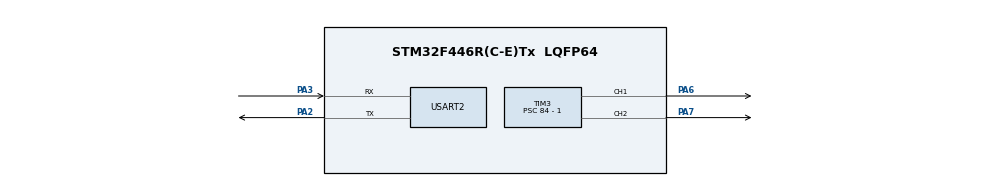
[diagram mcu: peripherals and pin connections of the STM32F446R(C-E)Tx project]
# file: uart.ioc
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Mcu.Family=STM32F4
Mcu.Name=STM32F446R(C-E)Tx
Mcu.Package=LQFP64
NVIC.PriorityGroup=NVIC_PRIORITYGROUP_4
NVIC.USART2_IRQn=true\:0\:0\:false\:false\:true\:true\:true\:true
PA2.Mode=Asynchronous
PA2.Signal=USART2_TX
PA3.Mode=Asynchronous
PA3.Signal=USART2_RX
PA6.Signal=S_TIM3_CH1
PA7.Signal=S_TIM3_CH2
ProjectManager.HeapSize=0x200
ProjectManager.StackSize=0x400
ProjectManager.TargetToolchain=CMake
RCC.CortexFreq_Value=16000000
RCC.USBFreq_Value=96000000
RCC.VCOOutputFreq_Value=192000000
SH.S_TIM3_CH1.0=TIM3_CH1,PWM Generation1 CH1
SH.S_TIM3_CH2.0=TIM3_CH2,PWM Generation2 CH2
TIM3.Channel-PWM\ Generation1\ CH1=TIM_CHANNEL_1
TIM3.Channel-PWM\ Generation2\ CH2=TIM_CHANNEL_2
TIM3.Period=100 - 1
TIM3.Prescaler=84 - 1
USART2.VirtualMode=VM_ASYNC
VP_TIM3_VS_ClockSourceINT.Mode=Internal
board=custom

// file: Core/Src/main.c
/* USER CODE BEGIN Header */
/**
  ******************************************************************************
  * @file           : main.c
  * @brief          : Main program body
  ******************************************************************************
  * @attention
  *
  * Copyright (c) 2025 STMicroelectronics.
  * All rights reserved.
  *
  * This software is licensed under terms that can be found in the LICENSE file
  * in the root directory of this software component.
  * If no LICENSE file comes with this software, it is provided AS-IS.
  *
  ******************************************************************************
  */
/* USER CODE END Header */
#include "main.h"

TIM_HandleTypeDef htim3;

UART_HandleTypeDef huart2;

/* USER CODE BEGIN PV */
uint8_t rxData;        // UART 수신용
int duty1 = 0;         // 1번 LED 밝기 (0~100)
int duty2 = 0;         // 2번 LED 밝기 (0~100)
char msg[64];          // PC 전송용 메시지 버퍼
/* USER CODE END PV */

void SystemClock_Config(void);
static void MX_GPIO_Init(void);
static void MX_TIM3_Init(void);
static void MX_USART2_UART_Init(void);

int main(void)
{

  /* MCU Configuration--------------------------------------------------------*/

  /* Reset of all peripherals, Initializes the Flash interface and the Systick. */
  HAL_Init();

  /* Configure the system clock */
  SystemClock_Config();

  /* Initialize all configured peripherals */
  MX_GPIO_Init();
  MX_TIM3_Init();
  MX_USART2_UART_Init();
  /* USER CODE BEGIN 2 */
  HAL_TIM_PWM_Start(&htim3, TIM_CHANNEL_1); // 1번 LED 동작 시작
  HAL_TIM_PWM_Start(&htim3, TIM_CHANNEL_2); // 2번 LED 동작 시작

  // 첫 번째 UART 데이터 수신 대기
  HAL_UART_Receive_IT(&huart2, &rxData, 1);
  /* USER CODE END 2 */

  /* Infinite loop */
  while (1)
  {

  }
}

void SystemClock_Config(void)
{
  RCC_OscInitTypeDef RCC_OscInitStruct = {0};
  RCC_ClkInitTypeDef RCC_ClkInitStruct = {0};

  /** Configure the main internal regulator output voltage
  */
  __HAL_RCC_PWR_CLK_ENABLE();
  __HAL_PWR_VOLTAGESCALING_CONFIG(PWR_REGULATOR_VOLTAGE_SCALE3);

  /** Initializes the RCC Oscillators according to the specified parameters
  * in the RCC_OscInitTypeDef structure.
  */
  RCC_OscInitStruct.OscillatorType = RCC_OSCILLATORTYPE_HSI;
  RCC_OscInitStruct.HSIState = RCC_HSI_ON;
  RCC_OscInitStruct.HSICalibrationValue = RCC_HSICALIBRATION_DEFAULT;
  RCC_OscInitStruct.PLL.PLLState = RCC_PLL_NONE;
  if (HAL_RCC_OscConfig(&RCC_OscInitStruct) != HAL_OK)
  {
    Error_Handler();
  }

  /** Initializes the CPU, AHB and APB buses clocks
  */
  RCC_ClkInitStruct.ClockType = RCC_CLOCKTYPE_HCLK|RCC_CLOCKTYPE_SYSCLK
                              |RCC_CLOCKTYPE_PCLK1|RCC_CLOCKTYPE_PCLK2;
  RCC_ClkInitStruct.SYSCLKSource = RCC_SYSCLKSOURCE_HSI;
  RCC_ClkInitStruct.AHBCLKDivider = RCC_SYSCLK_DIV1;
  RCC_ClkInitStruct.APB1CLKDivider = RCC_HCLK_DIV1;
  RCC_ClkInitStruct.APB2CLKDivider = RCC_HCLK_DIV1;

  if (HAL_RCC_ClockConfig(&RCC_ClkInitStruct, FLASH_LATENCY_0) != HAL_OK)
  {
    Error_Handler();
  }
}

static void MX_TIM3_Init(void)
{

  TIM_ClockConfigTypeDef sClockSourceConfig = {0};
  TIM_MasterConfigTypeDef sMasterConfig = {0};
  TIM_OC_InitTypeDef sConfigOC = {0};

  htim3.Instance = TIM3;
  htim3.Init.Prescaler = 84 - 1;
  htim3.Init.CounterMode = TIM_COUNTERMODE_UP;
  htim3.Init.Period = 100 - 1;
  htim3.Init.ClockDivision = TIM_CLOCKDIVISION_DIV1;
  htim3.Init.AutoReloadPreload = TIM_AUTORELOAD_PRELOAD_DISABLE;
  if (HAL_TIM_Base_Init(&htim3) != HAL_OK)
  {
    Error_Handler();
  }
  sClockSourceConfig.ClockSource = TIM_CLOCKSOURCE_INTERNAL;
  if (HAL_TIM_ConfigClockSource(&htim3, &sClockSourceConfig) != HAL_OK)
  {
    Error_Handler();
  }
  if (HAL_TIM_PWM_Init(&htim3) != HAL_OK)
  {
    Error_Handler();
  }
  sMasterConfig.MasterOutputTrigger = TIM_TRGO_RESET;
  sMasterConfig.MasterSlaveMode = TIM_MASTERSLAVEMODE_DISABLE;
  if (HAL_TIMEx_MasterConfigSynchronization(&htim3, &sMasterConfig) != HAL_OK)
  {
    Error_Handler();
  }
  sConfigOC.OCMode = TIM_OCMODE_PWM1;
  sConfigOC.Pulse = 0;
  sConfigOC.OCPolarity = TIM_OCPOLARITY_HIGH;
  sConfigOC.OCFastMode = TIM_OCFAST_DISABLE;
  if (HAL_TIM_PWM_ConfigChannel(&htim3, &sConfigOC, TIM_CHANNEL_1) != HAL_OK)
  {
    Error_Handler();
  }
  if (HAL_TIM_PWM_ConfigChannel(&htim3, &sConfigOC, TIM_CHANNEL_2) != HAL_OK)
  {
    Error_Handler();
  }
  HAL_TIM_MspPostInit(&htim3);

}

static void MX_USART2_UART_Init(void)
{

  huart2.Instance = USART2;
  huart2.Init.BaudRate = 115200;
  huart2.Init.WordLength = UART_WORDLENGTH_8B;
  huart2.Init.StopBits = UART_STOPBITS_1;
  huart2.Init.Parity = UART_PARITY_NONE;
  huart2.Init.Mode = UART_MODE_TX_RX;
  huart2.Init.HwFlowCtl = UART_HWCONTROL_NONE;
  huart2.Init.OverSampling = UART_OVERSAMPLING_16;
  if (HAL_UART_Init(&huart2) != HAL_OK)
  {
    Error_Handler();
  }

}

static void MX_GPIO_Init(void)
{

  /* GPIO Ports Clock Enable */
  __HAL_RCC_GPIOA_CLK_ENABLE();

}

/* USER CODE BEGIN 4 */
void HAL_UART_RxCpltCallback(UART_HandleTypeDef *huart) {
    if (huart->Instance == USART2) {
        // 1. 키 입력 처리
        if (rxData == 'w' || rxData == 'W') duty1 += 10;
        else if (rxData == 's' || rxData == 'S') duty1 -= 10;
        else if (rxData == 'd' || rxData == 'D') duty2 += 10;
        else if (rxData == 'a' || rxData == 'A') duty2 -= 10;

        // 2. 범위 제한 (0 미만이나 100 초과 방지)
        if (duty1 > 100) duty1 = 100; if (duty1 < 0) duty1 = 0;
        if (duty2 > 100) duty2 = 100; if (duty2 < 0) duty2 = 0;

        // 3. 실제 PWM 레지스터(CCR)에 값 적용
        __HAL_TIM_SET_COMPARE(&htim3, TIM_CHANNEL_1, duty1);
        __HAL_TIM_SET_COMPARE(&htim3, TIM_CHANNEL_2, duty2);

        // 4. 현재 상태 PC로 보고 (Telemetry)
        sprintf(msg, "LED1: %d%% | LED2: %d%%\r\n", duty1, duty2);
        HAL_UART_Transmit(&huart2, (uint8_t*)msg, strlen(msg), 10);

        // 5. 다음 데이터를 위해 수신 인터럽트 재활성화
        HAL_UART_Receive_IT(&huart2, &rxData, 1);
    }
}
/* USER CODE END 4 */

void Error_Handler(void)
{
  __disable_irq();
  while (1)
  {
  }
}
